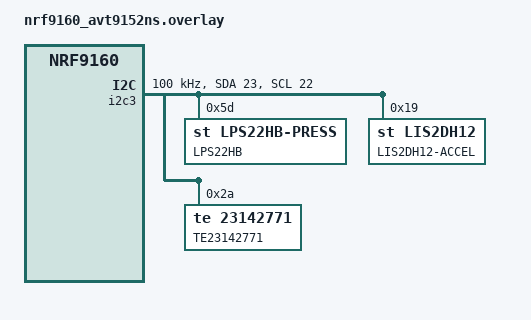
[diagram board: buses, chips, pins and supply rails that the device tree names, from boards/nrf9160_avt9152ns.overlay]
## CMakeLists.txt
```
#
# Copyright (c) 2020 Nordic Semiconductor
#
# SPDX-License-Identifier: LicenseRef-BSD-5-Clause-Nordic
#
option(CLION "CLion IDE Integration" OFF)

cmake_minimum_required(VERSION 3.8.2)

if (CLION)
    # instructions for CLION:
    # use File-Settings->Build,Execution,Deployment->Cmake
    # cmake options: -DCLION=on
    # environment CLION=yes;GNUARMEMB_TOOLCHAIN_PATH=<path_to>/gnuarmemb;ZEPHYR_BASE=<path_to>/ncs/zephyr
    # build options: -- -j 4 (if you want faster builds)


    message("Using CLION with " $ENV{GNUARMEMB_TOOLCHAIN_PATH} " " $ENV{ZEPHYR_BASE})

    set(ENV{BOARD} thingy91_nrf9160ns)
    set(ENV{BOARD_DIR} $ENV{ZEPHYR_BASE}/boards/arm/thingy91_nrf9160)

    set(ENV{ZEPHYR_TOOLCHAIN_VARIANT} gnuarmemb)

    set(ENV{CMAKE_AR} $ENV{GNUARMEMB_TOOLCHAIN_PATH}/bin/arm-none-eabi-ar)
    set(ENV{CMAKE_AS} $ENV{GNUARMEMB_TOOLCHAIN_PATH}/bin/arm-none-eabi-as)
    set(ENV{CMAKE_ASM_COMPILER} $ENV{GNUARMEMB_TOOLCHAIN_PATH}/bin/arm-none-eabi-gcc)
    set(ENV{CMAKE_ASM_COMPILER_AR} $ENV{GNUARMEMB_TOOLCHAIN_PATH}/bin/arm-none-eabi-gcc-ar)
    set(ENV{CMAKE_ASM_COMPILER_RANLIB} $ENV{GNUARMEMB_TOOLCHAIN_PATH}/bin/arm-none-eabi-gcc-ranlib)

    set(ENV{CMAKE_ASM_FLAGS_DEBUG} -g)
    set(ENV{CMAKE_ASM_FLAGS_MINSIZEREL} -Os -DNDEBUG)
    set(ENV{CMAKE_ASM_FLAGS_RELEASE} -O3 -DNDEBUG)
    set(ENV{CMAKE_ASM_FLAGS_RELWITHDEBINFO} -O2 -g -DNDEBUG)

    set(ENV{CMAKE_CXX_COMPILER} $ENV{GNUARMEMB_TOOLCHAIN_PATH}/bin/arm-none-eabi-g++)
    set(ENV{CMAKE_CXX_COMPILER_AR} $ENV{GNUARMEMB_TOOLCHAIN_PATH}/bin/arm-none-eabi-gcc-ar)
    set(ENV{CMAKE_CXX_COMPILER_RANLIB} $ENV{GNUARMEMB_TOOLCHAIN_PATH}/bin/arm-none-eabi-gcc-ranlib)
endif ()

set(PM_STATIC_YML_FILE
        ${CMAKE_CURRENT_SOURCE_DIR}/../../common/project-files/configuration/${BOARD}/pm_static.yml
        )
list(APPEND mcuboot_OVERLAY_CONFIG
        "${CMAKE_CURRENT_SOURCE_DIR}/../../common/project-files//mcuboot_overlay-rsa.conf"
        )

# we use some pragmas to suppress CLion warnings
add_definitions("-Wno-unknown-pragmas")

set(WITH_FEATURE_ZEPHYR)

# TODO: figure out how to deal with path warnings
cmake_policy(SET CMP0076 NEW)

set(ZEPHYR_EXTRA_MODULES ${CMAKE_CURRENT_SOURCE_DIR}/../../common/drivers/sensor)

find_package(Zephyr REQUIRED HINTS $ENV{ZEPHYR_BASE})

project(iotc-sensors-gps)
zephyr_compile_definitions(PROJECT_NAME=${PROJECT_NAME})
zephyr_compile_definitions(_POSIX_C_SOURCE=200809L)

target_sources(app PRIVATE src/app_common.h)
target_sources(app PRIVATE src/command_handling.c)
target_sources(app PRIVATE src/main.c)
target_sources(app PRIVATE src/test_certs.c)

# several ways to add the cJSON latest library version 1.7.13
# - update the source files in ncs/nrf/ext/cjson/ and include JSON library in prj.config
# - include the actual library as-is and link it in
# - just add cJSON dir and cJSON.c file. This is the simples approach that we are using, though not the cleanest.
#   NOTE: cJSON is currently in .gitignore. Modify it if you want to add it to your source control

zephyr_include_directories(../../cJSON)
zephyr_library_sources(../../cJSON/cJSON.c)

add_subdirectory_ifdef(CONFIG_BH1749 ../../common/sensors/light_sensor build/common/sensors/light_sensor)
add_subdirectory(../../common/sensors/motion build/common/sensors/motion)
add_subdirectory(../../common/sensors/env_sensors build/common/sensors/env_sensors)
add_subdirectory_ifdef(CONFIG_BOARD_THINGY91_NRF9160NS ../../common/ui build/common/ui)
add_subdirectory(src/gps_controller)

add_subdirectory(../../iotconnect-sdk build/iotconnect-sdk)
```

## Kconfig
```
#
# Copyright (c) 2020 Avnet
#
# Sample app config
#

menu "IoTConnect Sample"

config PROVISION_TEST_CERTIFICATES
	bool "Provision test certificates with source"
	help
		Enabling this option will trigger the mechanism to program the test certs and keys
		a set of devices
	default false

config IOTCONNECT_CUSTOM_DUID
	string "Optional custom Device Unique ID (default nrf-IMEI)"
	help
		If provided, a custom custom Device Unique ID will be used. Otherwise a generated ID will be used nrf-IMEI.
		Maximum 64 characters.
	default ""

config IOTCONNECT_CPID
	string "IoTConnect Company ID"
	help
		Settings -> Company Profile. Usually a long hex string like ABCDEF123456789A...
	default ""

config IOTCONNECT_ENV
    string "IoTConnect Environment"
	help
		Environment name. Contact your representative for details.
	default ""

config TELEMETRY_SEND_INTERVAL_SECS
	int "How many seconds to back off before sending telemetry"
	help
		A shorter interval means that data is sent more often and that it uses more bandwidth.
	default 5

config TELEMETRY_DURATION_MINUTES
	int "How many minutes to keep sending telemetry"
	help
		This value is used to limit the amount of data we send to the cloud and avoid sim card charges during testing.
		After the period exires, the board will disconnect from the cloud.
		You can set this value to a negative number if you wish to send data indefinitely.
	default 5

config MAIN_LOOP_INTERVAL_MS
	int "How many milliseconds to wait before returning to main loop"
	help
	    The main loop will execute iotconnect loop and allow mqtt to send/receive data.
	    Shorter loop interval means that we receive events from the cloud quciker.
	    Longer loop interval may cause mqtt connection to time out. It should not be more than several seconds.
	default 100

config USE_SENSOR_SIM
	bool "Use sensor simulator for motion and env_sensors"
	default y
	select SENSOR_SIM
	select SENSOR_SIM_TRIGGER
	select SENSOR_SIM_STATIC_VALUES

endmenu

rsource "../../iotconnect-sdk/Kconfig"

menu "Zephyr Kernel"
source "$ZEPHYR_BASE/Kconfig.zephyr"

endmenu
```

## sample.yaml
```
sample:
  name: IoTConnect Sample
tests:
  test_build:
    build_only: true
    build_on_all: true
    platform_whitelist: nrf9160dk_nrf9160ns thingy91_nrf9160ns
    tags: ci_build
```

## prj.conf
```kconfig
# Download client for OTA updates
CONFIG_DOWNLOAD_CLIENT=y

# sys_reboot after OTA
CONFIG_REBOOT=y

# Date/Time and Modem info (for IMEI)
CONFIG_DATE_TIME=y
CONFIG_MODEM_INFO=y
CONFIG_MODEM_INFO_ADD_NETWORK=n
CONFIG_MODEM_INFO_ADD_DATE_TIME=n
CONFIG_MODEM_INFO_ADD_SIM=n
CONFIG_MODEM_INFO_ADD_DEVICE=y

# Sensors
CONFIG_SENSOR=y

# GPS
CONFIG_NRF9160_GPS=y
CONFIG_NRF9160_GPS_LOG_LEVEL_DBG=y

# Library for buttons and LEDs
CONFIG_DK_LIBRARY=y
CONFIG_DK_LIBRARY_INVERT_LEDS=n

# Networking
CONFIG_NETWORKING=y
CONFIG_NET_NATIVE=n
CONFIG_NET_SOCKETS_OFFLOAD=y
CONFIG_NET_SOCKETS=y
CONFIG_NET_SOCKETS_POSIX_NAMES=y

# Modem Library (formerly BSD LIB)
CONFIG_NRF_MODEM_LIB=y
CONFIG_NRF_MODEM_LIB_SYS_INIT=y
CONFIG_NRF_MODEM_LIB_TRACE_ENABLED=n

CONFIG_MODEM_KEY_MGMT=y

# LTE link control
CONFIG_LTE_LINK_CONTROL=y
CONFIG_LTE_AUTO_INIT_AND_CONNECT=n

# AT Host
CONFIG_UART_INTERRUPT_DRIVEN=y
CONFIG_AT_HOST_LIBRARY=y

# CONFIG_CJSON_LIB=n
CONFIG_NEWLIB_LIBC=y

# Added by W-ADS
CONFIG_NEWLIB_LIBC_FLOAT_PRINTF=y

# MQTT
CONFIG_MQTT_LIB=y
CONFIG_MQTT_LIB_TLS=y

# FOTA requirements BEGIN
# ======================

# Image manager
CONFIG_IMG_MANAGER=y
CONFIG_FLASH=y
CONFIG_IMG_ERASE_PROGRESSIVELY=y

# FOTA library
CONFIG_FOTA_DOWNLOAD=y

# add debugging to fota log
CONFIG_LOG=y
CONFIG_LOG_MODE_IMMEDIATE=y
CONFIG_DOWNLOAD_CLIENT_LOG_LEVEL_DBG=y

# DFU Target
CONFIG_DFU_TARGET=y

# Application Upgrade support
CONFIG_BOOTLOADER_MCUBOOT=y

# ======================
# FOTA requirements END


# Main thread. Generously allotted. Can be reduced.
CONFIG_MAIN_STACK_SIZE=8192
CONFIG_HEAP_MEM_POOL_SIZE=8192
```

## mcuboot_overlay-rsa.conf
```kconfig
../../common/project-files/mcuboot_overlay-rsa.conf
```

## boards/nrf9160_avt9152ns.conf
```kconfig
# Sensors I2C
CONFIG_I2C=y
CONFIG_I2C_NRFX=y

CONFIG_SENSOR=y
CONFIG_USE_SENSOR_SIM=n
CONFIG_LPS22HB=y
CONFIG_LIS2DH=y
CONFIG_TE23142771=y

CONFIG_NRF9160_GPS_SET_MAGPIO=y
CONFIG_NRF9160_GPS_MAGPIO_STRING="AT\%XMAGPIO=1,0,0,1,1,1565,1586"
```

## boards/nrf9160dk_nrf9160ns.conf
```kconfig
#CONFIG_SENSOR_SIM_DYNAMIC_VALUES=n
```

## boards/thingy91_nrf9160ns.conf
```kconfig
CONFIG_PWM=y

# Sensors
CONFIG_USE_SENSOR_SIM=n

CONFIG_BH1749=y
CONFIG_BME680=y
CONFIG_ADXL362=y
CONFIG_ADXL362_TRIGGER_GLOBAL_THREAD=y
CONFIG_ADXL362_ABS_REF_MODE=1
CONFIG_ADXL362_ACTIVITY_THRESHOLD=200
CONFIG_ADXL362_INACTIVITY_THRESHOLD=200
CONFIG_ADXL362_INTERRUPT_MODE=1
```

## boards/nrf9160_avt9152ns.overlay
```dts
/ {
	aliases {
		sw0 = &arduino_pin17;
	};
};


&gpiote {
	status = "okay";
};


&i2c3 {
	compatible = "nordic,nrf-twim";
	status = "okay";
	sda-pin = <23>;
	scl-pin = <22>;
	clock-frequency = <I2C_BITRATE_STANDARD>;
	
	lps22hb-press@5d {
		compatible = "st,lps22hb-press";
		reg = <0x5d>;
		label = "LPS22HB";
	};
	
	lis2dh12@19 {
		compatible = "st,lis2dh12", "st,lis2dh";
		reg = <0x19>;
		label = "LIS2DH12-ACCEL";
	};
	
	te23142771@2a {
		compatible = "te,23142771";
		reg = <0x2a>;
		label = "TE23142771";
	};
};
```

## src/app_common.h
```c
//
// Copyright: Avnet, Softweb Inc. 2020
// Created by Nik Markovic <nikola.markovic@avnet.com> on 2/4/21.
//

#ifndef IOTCONNECT_APP_COMMON_H
#define IOTCONNECT_APP_COMMON_H

#include <stdbool.h>
#include "iotconnect_event.h"

#define LED_MAX 20U
#ifdef __cplusplus
extern "C" {
#endif

void command_status(IotclEventData data, bool status, const char *command_name, const char *message);
void process_command(IotclEventData data, char *args);

#ifdef __cplusplus
}
#endif

#endif //IOTCONNECT_APP_COMMON_H
```

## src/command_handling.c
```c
#include <zephyr.h>
#include <stdlib.h>
#include <string.h>
#include <stdio.h>
#if IS_ENABLED(CONFIG_BOARD_THINGY91_NRF9160NS)
#include "buzzer.h"
#include "led_pwm.h"
#else
#define ui_led_set_rgb(a,b,c)
#define ui_buzzer_set_frequency(a,b)
#endif
#include "iotconnect.h"
#include "app_common.h"

void command_status(IotclEventData data, bool status, const char *command_name, const char *message) {
    const char *ack = iotcl_create_ack_string_and_destroy_event(data, status, message);
    printk("command: %s status=%s: %s\n", command_name, status ? "OK" : "Failed", message);
    printk("Sent CMD ack: %s\n", ack);
    iotconnect_sdk_send_packet(ack, NULL);
    free((void *) ack);
}


void process_command(IotclEventData data, char *args) {
    static const char* CMD_COLOR = "color";
    static const char* CMD_COLOR_RGB = "color-rgb";
    static const char* CMD_BUZZER_SET = "buzzer-set";
    static const char* CMD_BUZZER_BEEP = "buzzer-beep";
    static const char* CMD_BUZZER_TUNE = "buzzer-tune";

    static const char * SPACE = " ";
    char *command = strtok(args, SPACE);
    char *arg = strtok(NULL, SPACE);
    if (NULL == command) {
        printk("No command!\n");
        return;
    }
    if (0 == strcmp(CMD_COLOR_RGB, command)) {
        const char *cmd  = CMD_COLOR_RGB;
        if (NULL == arg) {
            command_status(data, false, cmd, "Missing argument");
            return;
        }
        unsigned int r, g, b;
        int num_found = sscanf(arg, "%02x%02x%02x", &r, &g, &b);
        if (3 != num_found) {
            command_status(data, false, cmd, "Argument format error!");
            return;
        }
        ui_led_set_rgb(r, g, b);
        command_status(data, true, cmd, "Success");
    } else if (0 == strcmp(CMD_COLOR, command)) {
        const char* cmd = CMD_COLOR;
        if (NULL == arg) {
            command_status(data, false, cmd, "Missing argument");
            return;
        }
        if (0 == strcmp("red", arg)) {
            ui_led_set_rgb(LED_MAX, 0, 0);
        } else if (0 == strcmp("green", arg)) {
            ui_led_set_rgb(0, LED_MAX, 0);
        } else if (0 == strcmp("blue", arg)) {
            ui_led_set_rgb(0, 0, 1);
        } else {
            command_status(data,
                           false,
                           cmd,
                           "Valid arguments are \"red\", \"green\" or \"blue\""
            );
            return;
        }
        command_status(data, true, cmd, "Success");
    } else if (0 == strcmp(CMD_BUZZER_SET, command)) {
        const char* cmd = CMD_BUZZER_SET;
        if (NULL == arg) {
            command_status(data, false, cmd, "Missing argument");
            return;
        }
        uint32_t frequency;
        int intensity;
        int num_found = sscanf(arg, "%u,%d", &frequency, &intensity);
        if (0 == num_found) {
            command_status(data, false, cmd, "Argument format: \"<frequency>,<intensity>\"!");
            return;
        } else if (1 == num_found) {
            intensity = 1;

        }  // else should be 2
        ui_buzzer_set_frequency(frequency, (uint8_t)intensity);
        command_status(data, true, cmd, "Success");
    } else if (0 == strcmp(CMD_BUZZER_BEEP, command)) {
        const char* cmd = CMD_BUZZER_BEEP;
        if (NULL == arg) {
            arg = "400,50";
        }
        uint32_t frequency;
        int intensity;
        int num_found = sscanf(arg, "%u,%d", &frequency, &intensity);
        if (0 == num_found) {
            command_status(data, false, cmd, "Argument format: \"<frequency>,<intensity>\"!");
            return;
        } else if (1 == num_found) {
            intensity = 1;

        }  // else should be 2
        ui_buzzer_set_frequency(frequency, (uint8_t)intensity);
        command_status(data, true, cmd, "Success");
        k_msleep(1000);
        ui_buzzer_set_frequency(0,0);
    } else if (0 == strcmp(CMD_BUZZER_TUNE, command)) {
        const char* cmd = CMD_BUZZER_TUNE;
        command_status(data, true, cmd, "Success");
        ui_buzzer_set_frequency(100, 20);
        k_msleep(150);
        ui_buzzer_set_frequency(400, 20);
        k_msleep(150);
        ui_buzzer_set_frequency(200, 20);
        k_msleep(150);
        ui_buzzer_set_frequency(500, 20);
        k_msleep(150);
        ui_buzzer_set_frequency(0, 0);
        k_msleep(150);
        ui_buzzer_set_frequency(500, 20);
        k_msleep(300);
        ui_buzzer_set_frequency(0, 0);

    } else {
        command_status(data, false, command, "Unknown command");
    }
}
```

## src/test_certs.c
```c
#include <stdbool.h>
#include <string.h>

#include "nrf_cert_store.h"
#include "test_certs.h"

/**
 * This file contains an example of how you could program your a set of your
 * certificates and keys for a few test devices.
 *
 * This is NOT the recommended way to program your devices as it will contain
 * the keys anc certs in the the actual build binaries.
 *
 * Another way to program your keys is to use the LTE Link Monitor Nordic
 * application. It has a certificate manager application. The MQTT credentials
 * are stored in Security Tag is defined by TLS_SEC_TAG_IOTCONNECT_MQTT (10701)
 * in nrf_cert_store.h. TLS_SEC_TAG_IOTCONNECT_MQTT also requires
 * the Baltimore Cyber Trust (publicly available) as "CA Certificate" in addtion
 * the the device key and cert.
 *
 */

static const char *QA_PKEY_352656100380644 =
        "-----BEGIN EC PRIVATE KEY-----\r\n"
        "MHQCAQEEIJg7p8wbSoUCTCfm6Xopgo9F0TYEQsHkoq6+yuvmGo1SoAcGBSuBBAAK\r\n"
        "oUQDQgAEfeRTZCK1tAH2mCXqN+u4qfvZEVloxw1EQpXlU7973FjLNB+N74cQNsKp\r\n"
        "qPH33U6DHfDT2ZsyPHPaChc1fjpLlQ==\r\n"
        "-----END EC PRIVATE KEY-----\r\n";


static const char *QA_CERT_352656100380644 =
        "-----BEGIN CERTIFICATE-----\r\n"
        "MIIB8DCCAZYCAQEwCgYIKoZIzj0EAwIwcTELMAkGA1UEBhMCVVMxETAPBgNVBAgM\r\n"
        "CElsbGlub2lzMRAwDgYDVQQHDAdDaGljYWdvMRAwDgYDVQQKDAdOcmZEZW1vMRQw\r\n"
        "EgYDVQQLDAtOcmZEZW1vIE9yZzEVMBMGA1UEAwwMTnJmRGVtby1UZXN0MB4XDTIw\r\n"
        "MDgxMDE4MTMwOVoXDTQ3MTIyNjE4MTMwOVowgZkxCzAJBgNVBAYTAlVTMREwDwYD\r\n"
        "VQQIDAhJbGxpbm9pczEQMA4GA1UEBwwHQ2hpY2FnbzEQMA4GA1UECgwHTnJmRGVt\r\n"
        "bzEUMBIGA1UECwwLTnJmRGVtbyBPcmcxPTA7BgNVBAMMNFFVVTFOemN4TkRBdFFV\r\n"
        "WTRSQzAwUWpRNExVRTVOMEl0LW5yZi0zNTI2NTYxMDAzODA2NDQwVjAQBgcqhkjO\r\n"
        "PQIBBgUrgQQACgNCAAR95FNkIrW0AfaYJeo367ip+9kRWWjHDURCleVTv3vcWMs0\r\n"
        "H43vhxA2wqmo8ffdToMd8NPZmzI8c9oKFzV+OkuVMAoGCCqGSM49BAMCA0gAMEUC\r\n"
        "IQCXx2NxJD6JsbfDi8rQI/ip9y63ESBr9zJkQd3LrEH6QAIgd9Zcs+a3me6nNLd8\r\n"
        "Rh9nLC8ZkFxKHFDrBhd2bQfgX0c=\r\n"
        "-----END CERTIFICATE-----\r\n";

static const char *QA_PKEY_352656100880056 =
        "-----BEGIN EC PRIVATE KEY-----\r\n"
        "MHQCAQEEIHKUqf05pmF/c1DrGa+D32/Zak+slJFY93XGlqBu1eceoAcGBSuBBAAK\r\n"
        "oUQDQgAEyc19YmLr4nnUYV5yvn009Ow2ZLvFdBpRm4HilHewBDYmUkhXrpeauUW7\r\n"
        "iImHs/UX4//EqcB8neQjrIABfymYAA==\r\n"
        "-----END EC PRIVATE KEY-----\r\n";

// NK#1
static const char *QA_CERT_352656100880056 =
        "-----BEGIN CERTIFICATE-----\r\n"
        "MIIB8TCCAZYCAQEwCgYIKoZIzj0EAwIwcTELMAkGA1UEBhMCVVMxETAPBgNVBAgM\r\n"
        "CElsbGlub2lzMRAwDgYDVQQHDAdDaGljYWdvMRAwDgYDVQQKDAdOcmZEZW1vMRQw\r\n"
        "EgYDVQQLDAtOcmZEZW1vIE9yZzEVMBMGA1UEAwwMTnJmRGVtby1UZXN0MB4XDTIw\r\n"
        "MDgxMDE4MTMwOVoXDTQ3MTIyNjE4MTMwOVowgZkxCzAJBgNVBAYTAlVTMREwDwYD\r\n"
        "VQQIDAhJbGxpbm9pczEQMA4GA1UEBwwHQ2hpY2FnbzEQMA4GA1UECgwHTnJmRGVt\r\n"
        "bzEUMBIGA1UECwwLTnJmRGVtbyBPcmcxPTA7BgNVBAMMNFFVVTFOemN4TkRBdFFV\r\n"
        "WTRSQzAwUWpRNExVRTVOMEl0LW5yZi0zNTI2NTYxMDA4ODAwNTYwVjAQBgcqhkjO\r\n"
        "PQIBBgUrgQQACgNCAATJzX1iYuviedRhXnK+fTT07DZku8V0GlGbgeKUd7AENiZS\r\n"
        "SFeul5q5RbuIiYez9Rfj/8SpwHyd5COsgAF/KZgAMAoGCCqGSM49BAMCA0kAMEYC\r\n"
        "IQD0O/jTQHnfpVnPChp2+YagjiLqC0LbbEy7CHMVK8lI3wIhAJJUkcZxqHmBMEDL\r\n"
        "dDqXbVK098xolz+G5wan6S4p27OB\r\n"
        "-----END CERTIFICATE-----\r\n";

// TK#1
static const char *QA_PKEY_352656100878605 =
        "-----BEGIN EC PRIVATE KEY-----\r\n"
        "MHQCAQEEIOHIMJ04dxmvupQKoe3v+FqvPkenpHL4NaDmL6kaTkd3oAcGBSuBBAAK\r\n"
        "oUQDQgAEJ79o+SSkng7G9XDUqy4Tt3sCUxhAjKKff1GSxyp78oo/V1mfCZkWLVhU\r\n"
        "1VvagTCGyhyKh0adqunQuvgv3XoPIQ==\r\n"
        "-----END EC PRIVATE KEY-----\r\n";

static const char *QA_CERT_352656100878605 =
        "-----BEGIN CERTIFICATE-----\r\n"
        "MIIB8TCCAZYCAQEwCgYIKoZIzj0EAwIwcTELMAkGA1UEBhMCVVMxETAPBgNVBAgM\r\n"
        "CElsbGlub2lzMRAwDgYDVQQHDAdDaGljYWdvMRAwDgYDVQQKDAdOcmZEZW1vMRQw\r\n"
        "EgYDVQQLDAtOcmZEZW1vIE9yZzEVMBMGA1UEAwwMTnJmRGVtby1UZXN0MB4XDTIw\r\n"
        "MDgxMDE4MTMwOVoXDTQ3MTIyNjE4MTMwOVowgZkxCzAJBgNVBAYTAlVTMREwDwYD\r\n"
        "VQQIDAhJbGxpbm9pczEQMA4GA1UEBwwHQ2hpY2FnbzEQMA4GA1UECgwHTnJmRGVt\r\n"
        "bzEUMBIGA1UECwwLTnJmRGVtbyBPcmcxPTA7BgNVBAMMNFFVVTFOemN4TkRBdFFV\r\n"
        "WTRSQzAwUWpRNExVRTVOMEl0LW5yZi0zNTI2NTYxMDA4Nzg2MDUwVjAQBgcqhkjO\r\n"
        "PQIBBgUrgQQACgNCAAQnv2j5JKSeDsb1cNSrLhO3ewJTGECMop9/UZLHKnvyij9X\r\n"
        "WZ8JmRYtWFTVW9qBMIbKHIqHRp2q6dC6+C/deg8hMAoGCCqGSM49BAMCA0kAMEYC\r\n"
        "IQC/spakcGnJS8p+7IuxEeXp4vs5fOb/gbkZWTLF+FOPcAIhAPRORA2iKz9OpOmh\r\n"
        "OXIf+XELpauDSRvGHpDuYkPvxF8S\r\n"
        "-----END CERTIFICATE-----\r\n";

// TK#2
static const char *QA_PKEY_352656100877458 =
        "-----BEGIN EC PRIVATE KEY-----\r\n"
        "MHQCAQEEINpaSibzzB4kuPFuOufGiaRzjeVFus+aYeLkDLdBXJlSoAcGBSuBBAAK\r\n"
        "oUQDQgAETwzU14fFJEzYFA3WumsuKf6jok46db4B4iOcl3zS/GrwHzmcmg0vXiKF\r\n"
        "R7Gd8WiUCpersMs+9TrmG+upF4CJnw==\r\n"
        "-----END EC PRIVATE KEY-----\r\n";

static const char *QA_CERT_352656100877458 =
        "-----BEGIN CERTIFICATE-----\r\n"
        "MIIB8DCCAZYCAQEwCgYIKoZIzj0EAwIwcTELMAkGA1UEBhMCVVMxETAPBgNVBAgM\r\n"
        "CElsbGlub2lzMRAwDgYDVQQHDAdDaGljYWdvMRAwDgYDVQQKDAdOcmZEZW1vMRQw\r\n"
        "EgYDVQQLDAtOcmZEZW1vIE9yZzEVMBMGA1UEAwwMTnJmRGVtby1UZXN0MB4XDTIw\r\n"
        "MDgxMDE4MTMwOVoXDTQ3MTIyNjE4MTMwOVowgZkxCzAJBgNVBAYTAlVTMREwDwYD\r\n"
        "VQQIDAhJbGxpbm9pczEQMA4GA1UEBwwHQ2hpY2FnbzEQMA4GA1UECgwHTnJmRGVt\r\n"
        "bzEUMBIGA1UECwwLTnJmRGVtbyBPcmcxPTA7BgNVBAMMNFFVVTFOemN4TkRBdFFV\r\n"
        "WTRSQzAwUWpRNExVRTVOMEl0LW5yZi0zNTI2NTYxMDA4Nzc0NTgwVjAQBgcqhkjO\r\n"
        "PQIBBgUrgQQACgNCAARPDNTXh8UkTNgUDda6ay4p/qOiTjp1vgHiI5yXfNL8avAf\r\n"
        "OZyaDS9eIoVHsZ3xaJQKl6uwyz71OuYb66kXgImfMAoGCCqGSM49BAMCA0gAMEUC\r\n"
        "IFcejowHG6KkE5fNBSg7qhM7EFEiNiLoVFahOWNK87JcAiEAt7lsKt0irTpVVILS\r\n"
        "dPtxn389ifSveVaiyFNl+bc1S8U=\r\n"
        "-----END CERTIFICATE-----\r\n";

// TS#1
// nrf-352656100883605
static const char *QA_PKEY_352656100883605 =
        "-----BEGIN EC PRIVATE KEY-----\r\n"
        "MHQCAQEEIOnReXv11Aup2KAAoXBcG+j5hse2NTQKOBWnpC07nsRtoAcGBSuBBAAK\r\n"
        "oUQDQgAEpLe0tSCyUdbLB8L88ou9nmrKSqkhJL4f7+KcrxF1+RsONT9siH0273nl\r\n"
        "RnMuwOA3BBMHDBmenHh+aqO6D4eziw==\r\n"
        "-----END EC PRIVATE KEY-----\r\n";

static const char *QA_CERT_352656100883605 =
        "-----BEGIN CERTIFICATE-----\r\n"
        "MIIB8DCCAZYCAQEwCgYIKoZIzj0EAwIwcTELMAkGA1UEBhMCVVMxETAPBgNVBAgM\r\n"
        "CElsbGlub2lzMRAwDgYDVQQHDAdDaGljYWdvMRAwDgYDVQQKDAdOcmZEZW1vMRQw\r\n"
        "EgYDVQQLDAtOcmZEZW1vIE9yZzEVMBMGA1UEAwwMTnJmRGVtby1UZXN0MB4XDTIw\r\n"
        "MDgxMDE4MTMwOVoXDTQ3MTIyNjE4MTMwOVowgZkxCzAJBgNVBAYTAlVTMREwDwYD\r\n"
        "VQQIDAhJbGxpbm9pczEQMA4GA1UEBwwHQ2hpY2FnbzEQMA4GA1UECgwHTnJmRGVt\r\n"
        "bzEUMBIGA1UECwwLTnJmRGVtbyBPcmcxPTA7BgNVBAMMNFFVVTFOemN4TkRBdFFV\r\n"
        "WTRSQzAwUWpRNExVRTVOMEl0LW5yZi0zNTI2NTYxMDA4ODM2MDUwVjAQBgcqhkjO\r\n"
        "PQIBBgUrgQQACgNCAASkt7S1ILJR1ssHwvzyi72easpKqSEkvh/v4pyvEXX5Gw41\r\n"
        "P2yIfTbveeVGcy7A4DcEEwcMGZ6ceH5qo7oPh7OLMAoGCCqGSM49BAMCA0gAMEUC\r\n"
        "IEb6Brw3wYBiQ6GbL+AwGQNh3F0fOMUoEOJqoiNDbSsVAiEA4OAS/P2NmiczSBTY\r\n"
        "B+Fq/VAMVrNnam5EGXlAsvc2Gkw=\r\n"
        "-----END CERTIFICATE-----\r\n";




int program_test_certs(const char *env, const char *imei) {
    int err = 0;

    // in this example, we will hardocde some QA certificates in our provisioning build
    // but only if environment = "qa".
    if (0 == strcmp("qa", env)) {
        if (0 == strcmp("352656100380644", imei)) {
            err = nrf_cert_store_save_device_cert(
                    QA_PKEY_352656100380644,
                    QA_CERT_352656100380644
            );
        } else if (0 == strcmp("352656100880056", imei)) {
            err = nrf_cert_store_save_device_cert(
                    QA_PKEY_352656100880056,
                    QA_CERT_352656100880056
            );
        } else if (0 == strcmp("352656100878605", imei)) {
            err = nrf_cert_store_save_device_cert(
                    QA_PKEY_352656100878605,
                    QA_CERT_352656100878605
            );
        } else if (0 == strcmp("352656100877458", imei)) {
            err = nrf_cert_store_save_device_cert(
                    QA_PKEY_352656100877458,
                    QA_CERT_352656100877458
            );
        } else if (0 == strcmp("352656100883605", imei)) {
            err = nrf_cert_store_save_device_cert(
                    QA_PKEY_352656100883605,
                    QA_CERT_352656100883605
            );
        }
    }

    return err;
}
```
